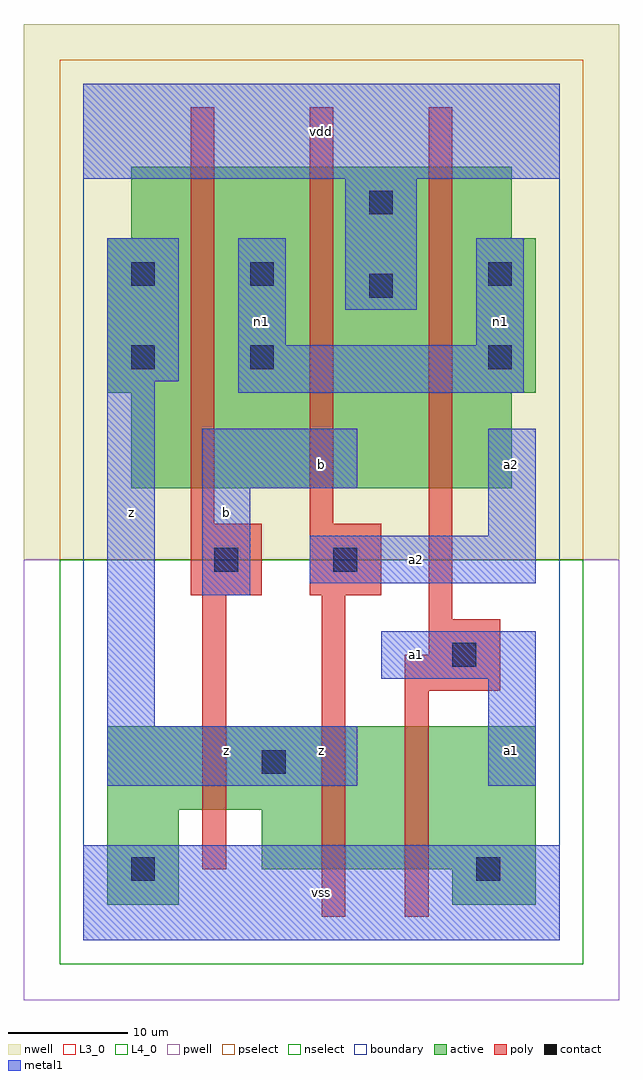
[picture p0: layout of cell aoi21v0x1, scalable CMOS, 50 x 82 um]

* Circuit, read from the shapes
.subckt aoi21v0x1 a1 a2 b n1 vdd vss z
M1 z b vss VSUBS nfet w=7u l=2u
M2 n2 a2 z VSUBS nfet w=12u l=2u
M3 vss a1 n2 VSUBS nfet w=12u l=2u
M4 n1 b z n3 pfet w=27u l=2u
M5 vdd a2 n1 n3 pfet w=27u l=2u
M6 n1 a1 vdd n3 pfet w=27u l=2u
.ends

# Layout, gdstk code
import gdstk
lib = gdstk.Library(unit=1e-6, precision=1e-09)
def R(c, l, rs):  # rectangles x0, y0, x1, y1
    for r in rs: c.add(gdstk.rectangle(r[:2], r[2:], *l))
L3_0 = (3, 0)
L4_0 = (4, 0)
contact = (25, 0)
pwell = (41, 0)
nwell = (42, 0)
active = (43, 0)
pselect = (44, 0)
nselect = (45, 0)
poly = (46, 0)
metal1 = (49, 0)
boundary = (63, 0)

aoi21v0x1 = lib.new_cell('aoi21v0x1')
R(aoi21v0x1, L3_0, [(2,3,8,11), (31,3,38,6), (15,6,38,11), (2,11,38,18)])
R(aoi21v0x1, L4_0, [(4,38,36,46), (2,46,38,59), (4,59,36,65)])
R(aoi21v0x1, contact, [(4,5,6,7), (33,5,35,7), (15,14,17,16), (31,23,33,25), (11,31,13,33), (21,31,23,33), (4,48,6,50), (14,48,16,50), (34,48,36,50), (24,54,26,56), (4,55,6,57), (14,55,16,57), (34,55,36,57), (24,61,26,63)])
R(aoi21v0x1, pwell, [(-5,-5,45,32)])
R(aoi21v0x1, nwell, [(-5,32,45,77)])
R(aoi21v0x1, active, [(2,3,8,11), (31,3,38,6), (15,6,38,11), (2,11,38,18), (4,38,36,46), (2,46,38,59), (4,59,36,65)])
R(aoi21v0x1, pselect, [(-2,32,42,74)])
R(aoi21v0x1, nselect, [(-2,-2,42,32)])
R(aoi21v0x1, poly, [(20,2,22,29), (27,2,29,21), (10,6,12,29), (27,21,35,24), (29,24,35,27), (29,27,31,70), (9,29,15,35), (19,29,25,35), (9,35,11,70), (19,35,21,70)])
R(aoi21v0x1, metal1, [(0,0,40,8), (2,13,23,18), (34,13,38,22), (2,18,6,47), (25,22,38,26), (10,29,14,38), (19,30,38,34), (34,34,38,43), (10,38,23,43), (13,46,37,50), (2,47,8,59), (13,50,17,59), (33,50,37,59), (22,53,28,64), (0,64,40,72)])
R(aoi21v0x1, boundary, [(0,0,40,72)])
aoi21v0x1.add(gdstk.Label('n1', (15,52), layer=49, texttype=0))
aoi21v0x1.add(gdstk.Label('n1', (35,52), layer=49, texttype=0))
aoi21v0x1.add(gdstk.Label('z', (4,36), layer=49, texttype=0))
aoi21v0x1.add(gdstk.Label('z', (12,16), layer=49, texttype=0))
aoi21v0x1.add(gdstk.Label('b', (12,36), layer=49, texttype=0))
aoi21v0x1.add(gdstk.Label('vss', (20,4), layer=49, texttype=0))
aoi21v0x1.add(gdstk.Label('z', (20,16), layer=49, texttype=0))
aoi21v0x1.add(gdstk.Label('a2', (28,32), layer=49, texttype=0))
aoi21v0x1.add(gdstk.Label('a1', (28,24), layer=49, texttype=0))
aoi21v0x1.add(gdstk.Label('b', (20,40), layer=49, texttype=0))
aoi21v0x1.add(gdstk.Label('vdd', (20,68), layer=49, texttype=0))
aoi21v0x1.add(gdstk.Label('a1', (36,16), layer=49, texttype=0))
aoi21v0x1.add(gdstk.Label('a2', (36,40), layer=49, texttype=0))

lib.write_gds('aoi21v0x1.gds')
